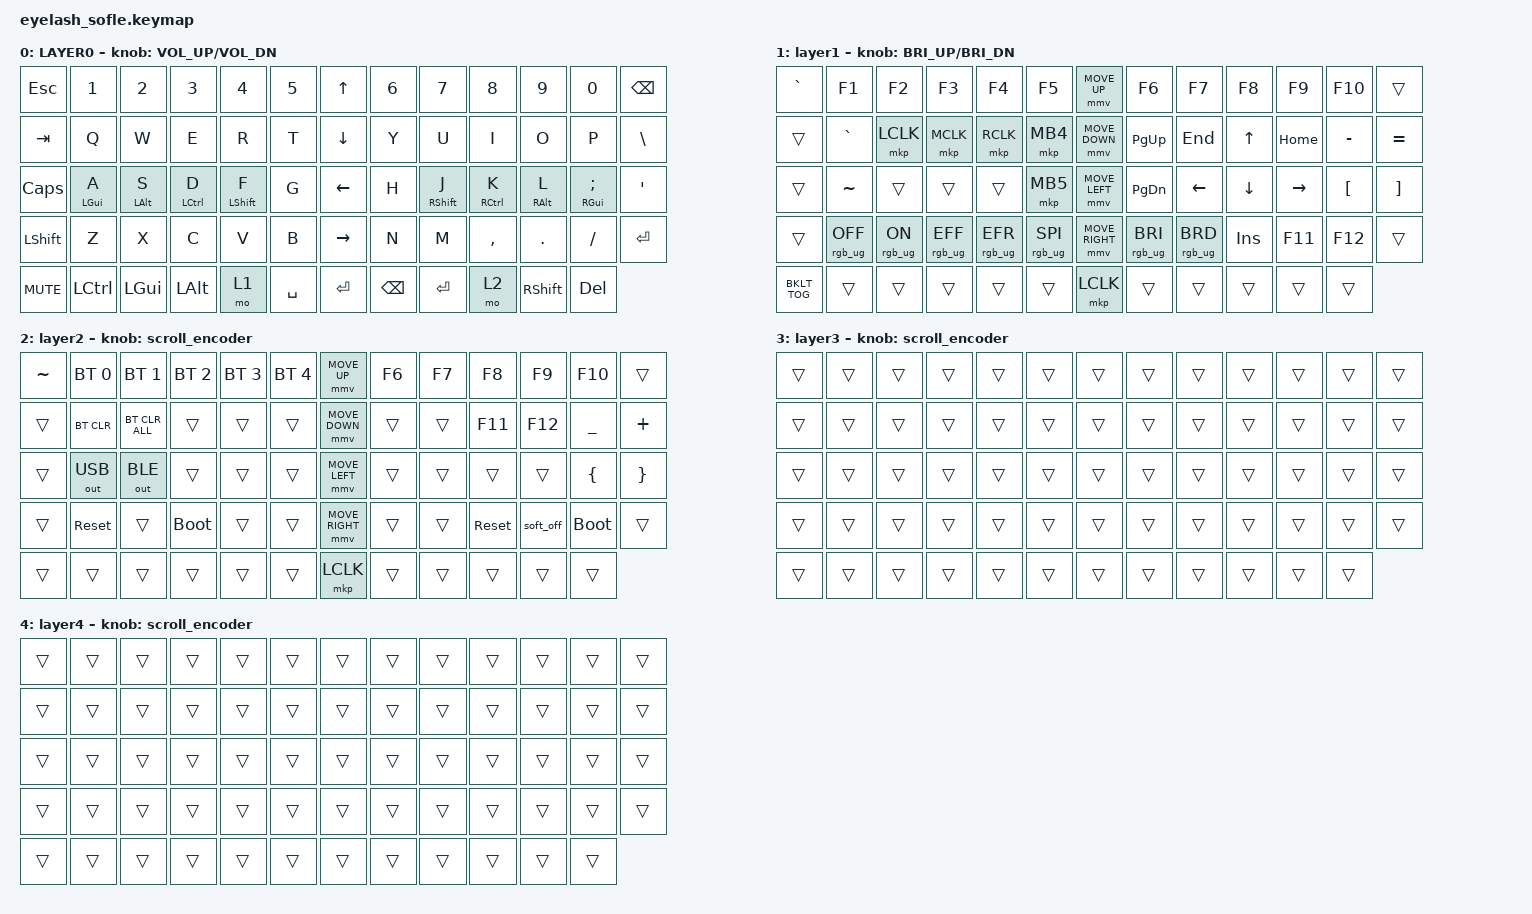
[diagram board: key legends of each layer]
#define ZMK_POINTING_DEFAULT_MOVE_VAL 1200  // 600
#define ZMK_POINTING_DEFAULT_SCRL_VAL 25   // 10

#include "zmk-helpers/helper.h"
#include "zmk-helpers/key-labels/sofle.h"
#include <input/processors.dtsi>
#include <zephyr/dt-bindings/input/input-event-codes.h>
#include <behaviors.dtsi>
#include <dt-bindings/zmk/bt.h>
#include <dt-bindings/zmk/keys.h>
#include <dt-bindings/zmk/outputs.h>
#include <dt-bindings/zmk/pointing.h>
#include <dt-bindings/zmk/rgb.h>

/*                                      60 KEY MATRIX / LAYOUT MAPPING

  ╭────────────────────────────┬────────────────────────────╮ ╭─────────────────────────────┬─────────────────────────────╮
  │  0   1   2   3   4   5     │      7   8   9  10  11  12 │ │ LN5 LN4 LN3 LN2 LN1 LN0     │     RN0 RN1 RN2 RN3 RN4 RN5 │
  │ 13  14  15  16  17  18     │     20  21  22  23  24  25 │ │ LT5 LT4 LT3 LT2 LT1 LT0     │     RT0 RT1 RT2 RT3 RT4 RT5 │
  │ 26  27  28  29  30  31     │     33  34  35  36  37  38 │ │ LM5 LM4 LM3 LM2 LM1 LM0     │     RM0 RM1 RM2 RM3 RM4 RM5 │
  │ 39  40  41  42  43  44     │     46  47  48  49  50  51 │ │ LB5 LB4 LB3 LB2 LB1 LB0     │     RB0 RB1 RB2 RB3 RB4 RB5 │
  ╰───────╮ 53  54  55  56  57 │ 59  60  61  62  63 ╭───────╯ ╰───────╮ LH4 LH3 LH2 LH1 LH0 │ RH0 RH1 RH2 RH3 RH4 ╭───────╯
          ╰────────────────────┴────────────────────╯                 ╰─────────────────────┴─────────────────────╯         
  EN0 = encoder
  JUP = joystick up
  JLF = joystick left
  JRT = joystick right
  JDN = joystick down
  JEN = joystick enter
          */

#pragma once

#define LN0  5  // left-number row
#define LN1  4
#define LN2  3
#define LN3  2
#define LN4  1
#define LN5  0

#define RN0  7  // right-number row
#define RN1  8
#define RN2  9
#define RN3 10
#define RN4 11
#define RN5 12

#define LT0 18  // left-top row
#define LT1 17
#define LT2 16
#define LT3 15
#define LT4 14
#define LT5 13

#define RT0 20  // right-top row
#define RT1 21
#define RT2 22
#define RT3 22
#define RT4 23
#define RT5 24

#define LM0 31  // left-middle row
#define LM1 30
#define LM2 29
#define LM3 28
#define LM4 27
#define LM5 26

#define RM0 33  // right-middle row
#define RM1 34
#define RM2 35
#define RM3 36
#define RM4 37
#define RM5 38

#define LB0 44  // left-bottom row
#define LB1 43
#define LB2 42
#define LB3 41
#define LB4 40
#define LB5 39

#define RB0 46  // right-bottom row
#define RB1 47
#define RB2 48
#define RB3 49
#define RB4 50
#define RB5 51

#define LH0 57  // left thumb keys
#define LH1 56
#define LH2 55
#define LH3 54
#define LH4 53

#define RH0 59  // right thumb keys
#define RH1 60
#define RH2 61
#define RH3 62
#define RH4 63

#define EN0 52
#define JUP 6
#define JDN 19
#define JLF 32
#define JRT 45
#define JEN 58

#define KEYS_L LT0 LT1 LT2 LT3 LT4 LT5 LM0 LM1 LM2 LM3 LM4 LM5 LB0 LB1 LB2 LB3 LB4 LB5  // Left-hand keys.
#define KEYS_R RT0 RT1 RT2 RT3 RT4 RT5 RM0 RM1 RM2 RM3 RM4 RM5 RB0 RB1 RB2 RB3 RB4 LB5  // Right-hand keys.
#define THUMBS LH4 LH3 LH2 LH1 LH0 RH0 RH1 RH2 RH3 RH4

ZMK_HOLD_TAP(hml,
    flavor = "balanced";
    tapping-term-ms = <280>;
    require-prior-idle-ms = <150>;
    hold-trigger-key-positions = <KEYS_R THUMBS>;
    hold-trigger-on-release;
    bindings = <&kp>, <&kp>;
)

ZMK_HOLD_TAP(hmr,
    flavor = "balanced";
    tapping-term-ms = <280>;
    require-prior-idle-ms = <150>;
    hold-trigger-key-positions = <KEYS_L THUMBS>;
    hold-trigger-on-release;
    bindings = <&kp>, <&kp>;
)

&mmv_input_listener { input-processors = <&zip_xy_scaler 2 1>; };

&msc_input_listener { input-processors = <&zip_scroll_scaler 2 1>; };

&msc {
    acceleration-exponent = <1>;      // 0
    time-to-max-speed-ms = <100>;       // 300
    delay-ms = <0>;                   // 0
};

&mmv {
    time-to-max-speed-ms = <500>;
    acceleration-exponent = <1>;
    trigger-period-ms = <16>;
};

&soft_off { hold-time-ms = <2000>; };

/ {
    scroll_encoder: scroll_encoder {
        compatible = "zmk,behavior-sensor-rotate";
        #sensor-binding-cells = <0>;
        bindings = <&msc SCRL_DOWN>, <&msc SCRL_UP>;

        tap-ms = <100>;
    };

    behaviors {
    };

    combos {
        compatible = "zmk,combos";

        softoff {
            bindings = <&soft_off>;
            key-positions = <14 28 40>;
        };
    };

    macros {
        SHIFT_MCLK: SHIFT_MCLK {
            compatible = "zmk,behavior-macro";
            #binding-cells = <0>;
            bindings =
                <&macro_press>,
                <&kp LEFT_SHIFT>,
                <&macro_press>,
                <&mkp MB3>,
                <&macro_pause_for_release>,
                <&macro_release>,
                <&kp LEFT_SHIFT &mkp MB3>;

            label = "SHIFT_MCLK";
        };
    };

    keymap {
        compatible = "zmk,keymap";

        layer0 {
            bindings = <
&kp ESC     &kp N1     &kp N2        &kp N3        &kp N4  &kp N5       &kp UP_ARROW     &kp N6     &kp N7     &kp N8     &kp N9           &kp N0      &kp BACKSPACE
&kp TAB     &kp Q      &kp W         &kp E         &kp R   &kp T        &kp DOWN_ARROW   &kp Y      &kp U      &kp I      &kp O            &kp P       &kp BSLH
&kp CAPS    &hml LGUI A      &hml LALT S         &hml LCTRL D         &hml LSHFT F   &kp G        &kp LEFT_ARROW   &kp H      &hmr RSHFT J      &hmr RCTRL K      &hmr RALT L            &hmr RGUI SEMI    &kp APOS
&kp LSHFT   &kp Z      &kp X         &kp C         &kp V   &kp B        &kp RIGHT_ARROW  &kp N      &kp M      &kp COMMA  &kp DOT          &kp FSLH    &kp ENTER
&kp C_MUTE  &kp LCTRL  &kp LEFT_GUI  &kp LEFT_ALT  &mo 1   &kp SPACE    &kp ENTER        &kp BACKSPACE  &kp ENTER  &mo 2      &kp RIGHT_SHIFT  &kp DELETE
            >;

            sensor-bindings = <&inc_dec_kp C_VOLUME_UP C_VOL_DN>;
            display-name = "LAYER0";
        };

        layer_1 {
            bindings = <
&kp GRAVE   &kp F1           &kp F2          &kp F3           &kp F4           &kp F5             &mmv MOVE_UP     &kp F6           &kp F7           &kp F8      &kp F9     &kp F10           &trans
&trans      &kp GRAVE        &mkp LCLK       &mkp MCLK        &mkp RCLK        &mkp MB4           &mmv MOVE_DOWN   &kp PG_UP        &kp END          &kp UP      &kp HOME   &kp MINUS         &kp EQUAL
&trans      &kp TILDE        &trans          &trans           &trans           &mkp MB5           &mmv MOVE_LEFT   &kp PG_DN        &kp LEFT         &kp DOWN    &kp RIGHT  &kp LEFT_BRACKET  &kp RIGHT_BRACKET
&trans      &rgb_ug RGB_OFF  &rgb_ug RGB_ON  &rgb_ug RGB_EFF  &rgb_ug RGB_EFR  &rgb_ug RGB_SPI    &mmv MOVE_RIGHT  &rgb_ug RGB_BRI  &rgb_ug RGB_BRD  &kp INSERT  &kp F11    &kp F12           &trans
&kp C_BKLT_TOG &trans           &trans          &trans           &trans           &trans             &mkp LCLK        &trans           &trans           &trans      &trans     &trans
            >;

            display-name = "layer1";
            sensor-bindings = <&inc_dec_kp C_BRI_UP C_BRI_DN>;
        };

        layer_2 {
            bindings = <
&kp TILDE  &bt BT_SEL 0  &bt BT_SEL 1    &bt BT_SEL 2  &bt BT_SEL 3  &bt BT_SEL 4    &mmv MOVE_UP     &kp F6  &kp F7  &kp F8      &kp F9     &kp F10      &trans
&trans     &bt BT_CLR    &bt BT_CLR_ALL  &trans        &trans        &trans          &mmv MOVE_DOWN   &trans  &trans  &kp F11     &kp F12    &kp UNDER    &kp PLUS
&trans     &out OUT_USB  &out OUT_BLE    &trans        &trans        &trans          &mmv MOVE_LEFT   &trans  &trans  &trans      &trans     &kp LBRC     &kp RBRC
&trans     &sys_reset    &trans          &bootloader   &trans        &trans          &mmv MOVE_RIGHT  &trans  &trans  &sys_reset  &soft_off  &bootloader  &trans
&trans     &trans        &trans          &trans        &trans        &trans          &mkp LCLK        &trans  &trans  &trans      &trans     &trans
            >;

            display-name = "layer2";
            sensor-bindings = <&scroll_encoder>;
        };

        layer_3 {
            bindings = <
&trans  &trans  &trans  &trans  &trans  &trans    &trans  &trans  &trans  &trans  &trans  &trans  &trans
&trans  &trans  &trans  &trans  &trans  &trans    &trans  &trans  &trans  &trans  &trans  &trans  &trans
&trans  &trans  &trans  &trans  &trans  &trans    &trans  &trans  &trans  &trans  &trans  &trans  &trans
&trans  &trans  &trans  &trans  &trans  &trans    &trans  &trans  &trans  &trans  &trans  &trans  &trans
&trans  &trans  &trans  &trans  &trans  &trans    &trans  &trans  &trans  &trans  &trans  &trans
            >;

            display-name = "layer3";
            sensor-bindings = <&scroll_encoder>;
        };

        layer_4 {
            bindings = <
&trans  &trans  &trans  &trans  &trans  &trans    &trans  &trans  &trans  &trans  &trans  &trans  &trans
&trans  &trans  &trans  &trans  &trans  &trans    &trans  &trans  &trans  &trans  &trans  &trans  &trans
&trans  &trans  &trans  &trans  &trans  &trans    &trans  &trans  &trans  &trans  &trans  &trans  &trans
&trans  &trans  &trans  &trans  &trans  &trans    &trans  &trans  &trans  &trans  &trans  &trans  &trans
&trans  &trans  &trans  &trans  &trans  &trans    &trans  &trans  &trans  &trans  &trans  &trans
            >;

            display-name = "layer4";
            sensor-bindings = <&scroll_encoder>;
        };
    };
};


